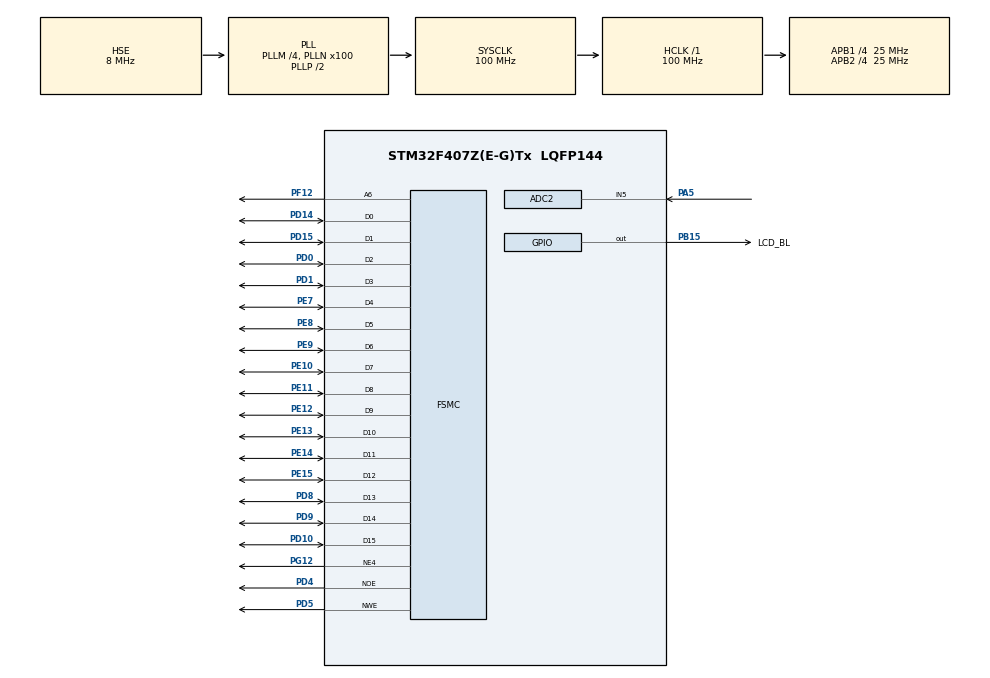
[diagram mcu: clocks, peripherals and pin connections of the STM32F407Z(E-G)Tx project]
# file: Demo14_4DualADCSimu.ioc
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ADC1.Channel-0\#ChannelRegularConversion=ADC_CHANNEL_VREFINT
ADC1.DMAContinuousRequests=ENABLE
ADC1.EnableAnalogWatchDog=false
ADC1.ExternalTrigConv=ADC_EXTERNALTRIGCONV_T3_TRGO
ADC1.InjNumberOfConversion=0
ADC1.Mode=ADC_DUALMODE_REGSIMULT
ADC1.NbrOfConversion=1
ADC1.NbrOfConversionFlag=1
ADC1.Rank-0\#ChannelRegularConversion=1
ADC1.Resolution=ADC_RESOLUTION_12B
ADC1.SamplingTime-0\#ChannelRegularConversion=ADC_SAMPLETIME_15CYCLES
ADC1.ScanConvMode=DISABLE
ADC1.master=1
ADC2.Channel-0\#ChannelRegularConversion=ADC_CHANNEL_5
ADC2.DMAAccessMode=ADC_DMAACCESSMODE_2
ADC2.Mode=ADC_DUALMODE_REGSIMULT
ADC2.NbrOfConversion=1
ADC2.NbrOfConversionFlag=1
ADC2.Rank-0\#ChannelRegularConversion=1
ADC2.SamplingTime-0\#ChannelRegularConversion=ADC_SAMPLETIME_15CYCLES
Dma.ADC1.0.Direction=DMA_PERIPH_TO_MEMORY
Dma.ADC1.0.FIFOMode=DMA_FIFOMODE_DISABLE
Dma.ADC1.0.Instance=DMA2_Stream0
Dma.ADC1.0.MemDataAlignment=DMA_MDATAALIGN_WORD
Dma.ADC1.0.MemInc=DMA_MINC_ENABLE
Dma.ADC1.0.Mode=DMA_CIRCULAR
Dma.ADC1.0.PeriphDataAlignment=DMA_PDATAALIGN_WORD
Dma.ADC1.0.PeriphInc=DMA_PINC_DISABLE
Dma.ADC1.0.Priority=DMA_PRIORITY_MEDIUM
Dma.Request0=ADC1
FSMC.AccessMode4=FSMC_ACCESS_MODE_A
FSMC.AddressSetupTime4=2
FSMC.BusTurnAroundDuration4=0
FSMC.DataSetupTime4=16
FSMC.ExtendedAccessMode4=FSMC_ACCESS_MODE_A
FSMC.ExtendedAddressSetupTime4=4
FSMC.ExtendedBusTurnAroundDuration4=0
FSMC.ExtendedDataSetupTime4=9
FSMC.ExtendedMode4=FSMC_EXTENDED_MODE_ENABLE
FSMC.MemoryType4=FSMC_MEMORY_TYPE_SRAM
FSMC.NSBank4=FSMC_NORSRAM_BANK4
FSMC.WriteOperation4=FSMC_WRITE_OPERATION_ENABLE
Mcu.Family=STM32F4
Mcu.Name=STM32F407Z(E-G)Tx
Mcu.Package=LQFP144
NVIC.ADC_IRQn=true\:1\:0\:true\:false\:true\:true\:true\:true
NVIC.DMA2_Stream0_IRQn=true\:0\:0\:false\:false\:true\:false\:true\:true
NVIC.PriorityGroup=NVIC_PRIORITYGROUP_4
PA13.Mode=Serial_Wire
PA13.Signal=SYS_JTMS-SWDIO
PA14.Mode=Serial_Wire
PA14.Signal=SYS_JTCK-SWCLK
PA5.Signal=ADCx_IN5
PB15.GPIO_Label=LCD_BL
PB15.PinState=GPIO_PIN_RESET
PB15.Signal=GPIO_Output
PC14-OSC32_IN.Mode=LSE-External-Oscillator
PC14-OSC32_IN.Signal=RCC_OSC32_IN
PC15-OSC32_OUT.Mode=LSE-External-Oscillator
PC15-OSC32_OUT.Signal=RCC_OSC32_OUT
PD0.Signal=FSMC_D2_DA2
PD1.Signal=FSMC_D3_DA3
PD10.Signal=FSMC_D15_DA15
PD14.Signal=FSMC_D0_DA0
PD15.Signal=FSMC_D1_DA1
PD4.Signal=FSMC_NOE
PD5.Signal=FSMC_NWE
PD8.Signal=FSMC_D13_DA13
PD9.Signal=FSMC_D14_DA14
PE10.Signal=FSMC_D7_DA7
PE11.Signal=FSMC_D8_DA8
PE12.Signal=FSMC_D9_DA9
PE13.Signal=FSMC_D10_DA10
PE14.Signal=FSMC_D11_DA11
PE15.Signal=FSMC_D12_DA12
PE7.Signal=FSMC_D4_DA4
PE8.Signal=FSMC_D5_DA5
PE9.Signal=FSMC_D6_DA6
PF12.Signal=FSMC_A6
PG12.Mode=NorPsramChipSelect4_4
PG12.Signal=FSMC_NE4
PH0-OSC_IN.Mode=HSE-External-Oscillator
PH0-OSC_IN.Signal=RCC_OSC_IN
PH1-OSC_OUT.Mode=HSE-External-Oscillator
PH1-OSC_OUT.Signal=RCC_OSC_OUT
ProjectManager.HeapSize=0x200
ProjectManager.StackSize=0x400
ProjectManager.TargetToolchain=STM32CubeIDE
RCC.48MHZClocksFreq_Value=50000000
RCC.AHBFreq_Value=100000000
RCC.APB1CLKDivider=RCC_HCLK_DIV4
RCC.APB1Freq_Value=25000000
RCC.APB1TimFreq_Value=50000000
RCC.APB2CLKDivider=RCC_HCLK_DIV4
RCC.APB2Freq_Value=25000000
RCC.APB2TimFreq_Value=50000000
RCC.CortexFreq_Value=100000000
RCC.FLatency=FLASH_LATENCY_3
RCC.HCLKFreq_Value=100000000
RCC.HSE_VALUE=8000000
RCC.HSI_VALUE=16000000
RCC.PLLM=4
RCC.PLLN=100
RCC.PLLSourceVirtual=RCC_PLLSOURCE_HSE
RCC.SYSCLKFreq_VALUE=100000000
RCC.SYSCLKSource=RCC_SYSCLKSOURCE_PLLCLK
RCC.VCOOutputFreq_Value=200000000
SH.ADCx_IN5.0=ADC2_IN5,IN5
SH.FSMC_A6.0=FSMC_A6,A6_4
SH.FSMC_D0_DA0.0=FSMC_D0,16b-d4
SH.FSMC_D10_DA10.0=FSMC_D10,16b-d4
SH.FSMC_D11_DA11.0=FSMC_D11,16b-d4
SH.FSMC_D12_DA12.0=FSMC_D12,16b-d4
SH.FSMC_D13_DA13.0=FSMC_D13,16b-d4
SH.FSMC_D14_DA14.0=FSMC_D14,16b-d4
SH.FSMC_D15_DA15.0=FSMC_D15,16b-d4
SH.FSMC_D1_DA1.0=FSMC_D1,16b-d4
SH.FSMC_D2_DA2.0=FSMC_D2,16b-d4
SH.FSMC_D3_DA3.0=FSMC_D3,16b-d4
SH.FSMC_D4_DA4.0=FSMC_D4,16b-d4
SH.FSMC_D5_DA5.0=FSMC_D5,16b-d4
SH.FSMC_D6_DA6.0=FSMC_D6,16b-d4
SH.FSMC_D7_DA7.0=FSMC_D7,16b-d4
SH.FSMC_D8_DA8.0=FSMC_D8,16b-d4
SH.FSMC_D9_DA9.0=FSMC_D9,16b-d4
SH.FSMC_NOE.0=FSMC_NOE,Lcd4
SH.FSMC_NWE.0=FSMC_NWE,Lcd4
TIM3.Period=499
TIM3.Prescaler=49999
TIM3.TIM_MasterOutputTrigger=TIM_TRGO_UPDATE
VP_ADC1_Vref_Input.Mode=IN-Vrefint
VP_TIM3_VS_ClockSourceINT.Mode=Internal
board=custom

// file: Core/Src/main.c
/* USER CODE BEGIN Header */
/**
  ******************************************************************************
  * @file           : main.c
  * @brief          : Main program body
  ******************************************************************************
  * @attention
  *
  * Copyright (c) 2023 STMicroelectronics.
  * All rights reserved.
  *
  * This software is licensed under terms that can be found in the LICENSE file
  * in the root directory of this software component.
  * If no LICENSE file comes with this software, it is provided AS-IS.
  *
  ******************************************************************************
  */
/* USER CODE END Header */
#include "main.h"
#include "adc.h"
#include "dma.h"
#include "tim.h"
#include "gpio.h"
#include "fsmc.h"

/* USER CODE BEGIN Includes */
#include "lcd.h"
/* USER CODE END Includes */

/* USER CODE BEGIN PV */
#define		BATCH_DATA_LEN	1
uint32_t	dmaDataBuffer[BATCH_DATA_LEN];
/* USER CODE END PV */

void SystemClock_Config(void);

int main(void)
{

  /* MCU Configuration--------------------------------------------------------*/

  /* Reset of all peripherals, Initializes the Flash interface and the Systick. */
  HAL_Init();

  /* Configure the system clock */
  SystemClock_Config();

  /* Initialize all configured peripherals */
  MX_GPIO_Init();
  MX_DMA_Init();
  MX_FSMC_Init();
  MX_ADC1_Init();
  MX_TIM3_Init();
  MX_ADC2_Init();
  /* USER CODE BEGIN 2 */
  lcd_init();
  lcd_show_str(10, 10, 24, "Demo14_4:ADC1 + ADC2 Sync", RED);
  lcd_show_str(10, 40, 24, "Triggered by TIM3 each 500ms", RED);
  lcd_show_str(10, 70, 24, "Please set jumper at first", RED);
  lcd_show_str(10,100, 24, "Tune potentiometer for input", RED);
  lcd_show_str(10,130, 24, "ADC1 Vref(mV) = ", RED);
  lcd_show_str(10,190, 24, "ADC2  In5(mV) = ", RED);

  HAL_ADCEx_MultiModeStart_DMA(&hadc1, dmaDataBuffer, BATCH_DATA_LEN);
  HAL_ADCEx_MultiModeStart_DMA(&hadc2, dmaDataBuffer, BATCH_DATA_LEN);
  HAL_TIM_Base_Start(&htim3);
  /* USER CODE END 2 */

  /* Infinite loop */
  while (1)
  {

  }
}

void SystemClock_Config(void)
{
  RCC_OscInitTypeDef RCC_OscInitStruct = {0};
  RCC_ClkInitTypeDef RCC_ClkInitStruct = {0};

  /** Configure the main internal regulator output voltage
  */
  __HAL_RCC_PWR_CLK_ENABLE();
  __HAL_PWR_VOLTAGESCALING_CONFIG(PWR_REGULATOR_VOLTAGE_SCALE1);

  /** Initializes the RCC Oscillators according to the specified parameters
  * in the RCC_OscInitTypeDef structure.
  */
  RCC_OscInitStruct.OscillatorType = RCC_OSCILLATORTYPE_HSE;
  RCC_OscInitStruct.HSEState = RCC_HSE_ON;
  RCC_OscInitStruct.PLL.PLLState = RCC_PLL_ON;
  RCC_OscInitStruct.PLL.PLLSource = RCC_PLLSOURCE_HSE;
  RCC_OscInitStruct.PLL.PLLM = 4;
  RCC_OscInitStruct.PLL.PLLN = 100;
  RCC_OscInitStruct.PLL.PLLP = RCC_PLLP_DIV2;
  RCC_OscInitStruct.PLL.PLLQ = 4;
  if (HAL_RCC_OscConfig(&RCC_OscInitStruct) != HAL_OK)
  {
    Error_Handler();
  }

  /** Initializes the CPU, AHB and APB buses clocks
  */
  RCC_ClkInitStruct.ClockType = RCC_CLOCKTYPE_HCLK|RCC_CLOCKTYPE_SYSCLK
                              |RCC_CLOCKTYPE_PCLK1|RCC_CLOCKTYPE_PCLK2;
  RCC_ClkInitStruct.SYSCLKSource = RCC_SYSCLKSOURCE_PLLCLK;
  RCC_ClkInitStruct.AHBCLKDivider = RCC_SYSCLK_DIV1;
  RCC_ClkInitStruct.APB1CLKDivider = RCC_HCLK_DIV4;
  RCC_ClkInitStruct.APB2CLKDivider = RCC_HCLK_DIV4;

  if (HAL_RCC_ClockConfig(&RCC_ClkInitStruct, FLASH_LATENCY_3) != HAL_OK)
  {
    Error_Handler();
  }
}

/* USER CODE BEGIN 4 */
__weak void HAL_ADC_ConvCpltCallback(ADC_HandleTypeDef* hadc) {
	uint32_t Volt;
	uint32_t adcValue = dmaDataBuffer[0];

	uint32_t ADC1_val = adcValue & 0x0000FFFF;
	Volt = 3300 * ADC1_val >> 12;
	lcd_show_num(50, 160, Volt, 4, 24, RED);

	uint32_t ADC2_val = adcValue & 0xFFFF0000;
	ADC2_val = ADC2_val >> 16;
	Volt = 3300 * ADC2_val >> 12;
	lcd_show_num(50, 220, Volt, 4, 24, RED);
}
/* USER CODE END 4 */

void Error_Handler(void)
{
  __disable_irq();
  while (1)
  {
  }
}
